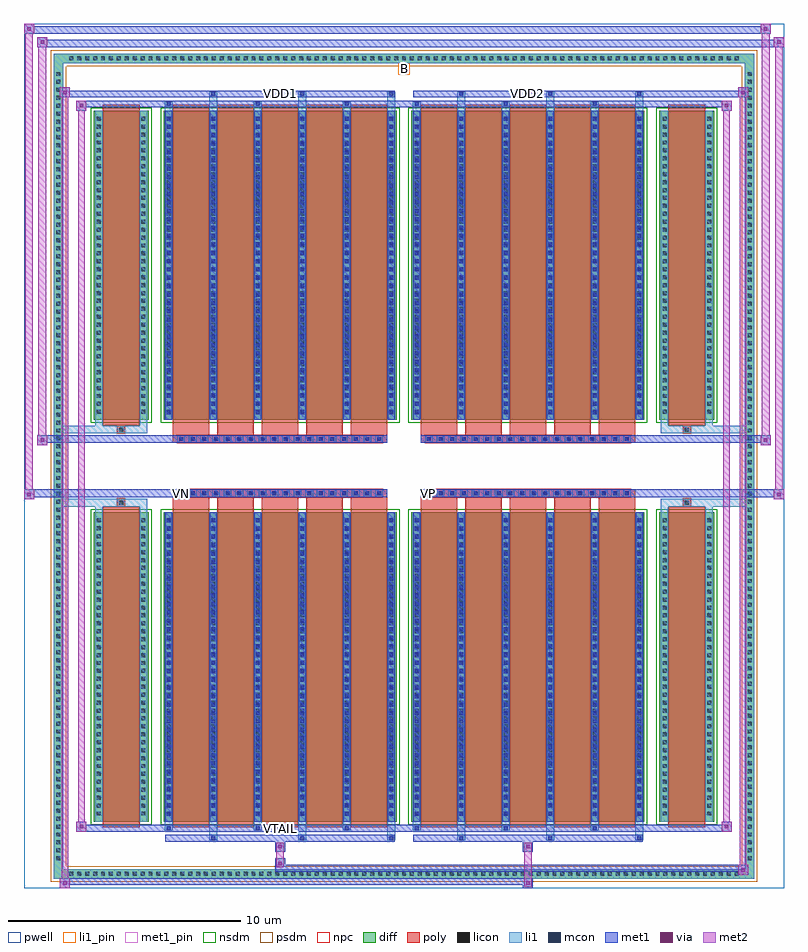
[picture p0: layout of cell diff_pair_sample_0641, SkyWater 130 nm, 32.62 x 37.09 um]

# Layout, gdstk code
import gdstk
lib = gdstk.Library(unit=1e-6, precision=5e-09)
def R(c, l, rs):  # rectangles x0, y0, x1, y1
    for r in rs: c.add(gdstk.rectangle(r[:2], r[2:], *l))
def A(c, l, x, y, w, h, nx, ny, dx, dy):  # array of equal rectangles
    R(c, l, [(x+i*dx, y+j*dy, x+i*dx+w, y+j*dy+h) for i in range(nx) for j in range(ny)])
def P(c, l, *ps):  # polygons
    for p in ps: c.add(gdstk.Polygon(p, *l))
pwell = (64, 44)
diff = (65, 20)
poly = (66, 20)
licon = (66, 44)
li1_pin = (67, 16)
li1 = (67, 20)
mcon = (67, 44)
met1_pin = (68, 16)
met1 = (68, 20)
via = (68, 44)
met2 = (69, 20)
nsdm = (93, 44)
psdm = (94, 20)
npc = (95, 20)

diff_pair_sample_0641 = lib.new_cell('diff_pair_sample_0641')
R(diff_pair_sample_0641, pwell, [(-16.31,-18.11,16.31,18.98), (-13.63,-16.3,-0.01,-0.8), (0.01,-16.3,13.63,-0.8), (-13.63,0.8,-0.01,16.3), (0.01,0.8,13.63,16.3)])
A(diff_pair_sample_0641, diff, -14.485, -17.71, 0.41, 0.41, 85, 2, 0.34, 35.01)
A(diff_pair_sample_0641, diff, -15.04, -17.035, 0.41, 0.41, 1, 100, 0, 0.34)
A(diff_pair_sample_0641, diff, 14.63, -17.035, 0.41, 0.41, 1, 100, 0, 0.34)
R(diff_pair_sample_0641, diff, [(-14.485,-17.71,14.485,-17.3), (-15.04,-17.035,-14.63,17.035), (14.63,-17.035,15.04,17.035), (-13.32,-15.255,-10.96,-1.985), (-10.32,-15.255,-0.32,-1.985), (0.32,-15.255,10.32,-1.985), (10.96,-15.255,13.32,-1.985), (-13.32,1.985,-10.96,15.255), (-10.32,1.985,-0.32,15.255), (0.32,1.985,10.32,15.255), (10.96,1.985,13.32,15.255), (-14.485,17.3,14.485,17.71)])
P(diff_pair_sample_0641, diff, [(15.04,17.71),(-15.04,17.71),(-15.04,-17.3),(-14.63,-17.3),(-14.63,17.3),(14.63,17.3),(14.63,-17.3),(-14.63,-17.3),(-15.04,-17.3),(-15.04,-17.71),(15.04,-17.71)])
A(diff_pair_sample_0641, poly, -9.93, -15.505, 1.58, 13.77, 5, 2, 1.91, 17.24)
A(diff_pair_sample_0641, poly, 0.71, -15.505, 1.58, 13.77, 5, 2, 1.91, 17.24)
A(diff_pair_sample_0641, poly, -9.93, -1.735, 1.58, 0.405, 5, 2, 1.91, 3.065)
A(diff_pair_sample_0641, poly, 0.71, -1.735, 1.58, 0.405, 5, 2, 1.91, 3.065)
A(diff_pair_sample_0641, poly, -9.735, -1.33, 0.33, 0.33, 18, 2, 0.5, 2.33)
A(diff_pair_sample_0641, poly, 0.905, -1.33, 0.33, 0.33, 18, 2, 0.5, 2.33)
R(diff_pair_sample_0641, poly, [(-12.93,-15.505,-11.35,-1.735), (11.35,-15.505,12.93,-1.735), (-12.305,-1.735,-11.975,-1.405), (-12.305,-1.735,-11.975,-1.405), (11.975,-1.735,12.305,-1.405), (11.975,-1.735,12.305,-1.405), (-9.93,-1.33,-0.71,-1), (0.71,-1.33,9.93,-1), (-9.93,1,-0.71,1.33), (0.71,1,9.93,1.33), (-12.305,1.405,-11.975,1.735), (-12.305,1.405,-11.975,1.735), (11.975,1.405,12.305,1.735), (11.975,1.405,12.305,1.735), (-12.93,1.735,-11.35,15.505), (11.35,1.735,12.93,15.505)])
A(diff_pair_sample_0641, licon, -14.365, -17.59, 0.17, 0.17, 85, 2, 0.34, 35.01)
A(diff_pair_sample_0641, licon, -14.92, -16.915, 0.17, 0.17, 1, 100, 0, 0.34)
A(diff_pair_sample_0641, licon, 14.75, -16.915, 0.17, 0.17, 1, 100, 0, 0.34)
A(diff_pair_sample_0641, licon, -13.18, -14.995, 0.17, 0.17, 1, 38, 0, 0.34)
A(diff_pair_sample_0641, licon, -11.27, -14.995, 0.17, 0.17, 1, 38, 0, 0.34)
A(diff_pair_sample_0641, licon, -10.18, -14.995, 0.17, 0.17, 6, 38, 1.91, 0.34)
A(diff_pair_sample_0641, licon, 0.46, -14.995, 0.17, 0.17, 6, 38, 1.91, 0.34)
A(diff_pair_sample_0641, licon, 11.1, -14.995, 0.17, 0.17, 1, 38, 0, 0.34)
A(diff_pair_sample_0641, licon, 13.01, -14.995, 0.17, 0.17, 1, 38, 0, 0.34)
A(diff_pair_sample_0641, licon, -9.655, -1.25, 0.17, 0.17, 18, 2, 0.5, 2.33)
A(diff_pair_sample_0641, licon, 0.985, -1.25, 0.17, 0.17, 18, 2, 0.5, 2.33)
A(diff_pair_sample_0641, licon, -13.18, 2.245, 0.17, 0.17, 1, 38, 0, 0.34)
A(diff_pair_sample_0641, licon, -11.27, 2.245, 0.17, 0.17, 1, 38, 0, 0.34)
A(diff_pair_sample_0641, licon, -10.18, 2.245, 0.17, 0.17, 6, 38, 1.91, 0.34)
A(diff_pair_sample_0641, licon, 0.46, 2.245, 0.17, 0.17, 6, 38, 1.91, 0.34)
A(diff_pair_sample_0641, licon, 11.1, 2.245, 0.17, 0.17, 1, 38, 0, 0.34)
A(diff_pair_sample_0641, licon, 13.01, 2.245, 0.17, 0.17, 1, 38, 0, 0.34)
R(diff_pair_sample_0641, licon, [(-12.225,-1.655,-12.055,-1.485), (12.055,-1.655,12.225,-1.485), (-12.225,1.485,-12.055,1.655), (12.055,1.485,12.225,1.655)])
R(diff_pair_sample_0641, li1_pin, [(-0.25,16.8,0.25,17.3)])
A(diff_pair_sample_0641, li1, -14.445, -17.67, 0.33, 0.33, 85, 2, 0.34, 35.01)
A(diff_pair_sample_0641, li1, -15, -16.995, 0.33, 0.33, 1, 100, 0, 0.34)
A(diff_pair_sample_0641, li1, 14.67, -16.995, 0.33, 0.33, 1, 100, 0, 0.34)
A(diff_pair_sample_0641, li1, -8.35, -16.06, 0.33, 0.805, 3, 2, 3.82, 31.315)
A(diff_pair_sample_0641, li1, -8.27, -16.06, 0.17, 0.17, 3, 2, 3.82, 31.95)
A(diff_pair_sample_0641, li1, 2.29, -16.06, 0.33, 0.805, 3, 2, 3.82, 31.315)
A(diff_pair_sample_0641, li1, 2.37, -16.06, 0.17, 0.17, 3, 2, 3.82, 31.95)
A(diff_pair_sample_0641, li1, -10.26, -15.63, 0.33, 0.375, 3, 2, 3.82, 30.885)
A(diff_pair_sample_0641, li1, -10.18, -15.63, 0.17, 0.17, 3, 2, 3.82, 31.09)
A(diff_pair_sample_0641, li1, 0.38, -15.63, 0.33, 0.375, 3, 2, 3.82, 30.885)
A(diff_pair_sample_0641, li1, 0.46, -15.63, 0.17, 0.17, 3, 2, 3.82, 31.09)
A(diff_pair_sample_0641, li1, -10.26, -15.255, 0.33, 13.27, 6, 2, 1.91, 17.24)
A(diff_pair_sample_0641, li1, 0.38, -15.255, 0.33, 13.27, 6, 2, 1.91, 17.24)
A(diff_pair_sample_0641, li1, -13.26, -15.075, 0.33, 0.33, 1, 38, 0, 0.34)
A(diff_pair_sample_0641, li1, -11.35, -15.075, 0.33, 0.33, 1, 38, 0, 0.34)
A(diff_pair_sample_0641, li1, -10.26, -15.075, 0.33, 0.33, 6, 38, 1.91, 0.34)
A(diff_pair_sample_0641, li1, 0.38, -15.075, 0.33, 0.33, 6, 38, 1.91, 0.34)
A(diff_pair_sample_0641, li1, 11.02, -15.075, 0.33, 0.33, 1, 38, 0, 0.34)
A(diff_pair_sample_0641, li1, 12.93, -15.075, 0.33, 0.33, 1, 38, 0, 0.34)
A(diff_pair_sample_0641, li1, -10.18, -15.005, 0.17, 0.17, 6, 36, 1.91, 0.36)
A(diff_pair_sample_0641, li1, -10.18, -15.005, 0.17, 12.77, 6, 2, 1.91, 17.24)
A(diff_pair_sample_0641, li1, 0.46, -15.005, 0.17, 0.17, 6, 36, 1.91, 0.36)
A(diff_pair_sample_0641, li1, 0.46, -15.005, 0.17, 12.77, 6, 2, 1.91, 17.24)
A(diff_pair_sample_0641, li1, -9.735, -1.33, 0.33, 0.33, 18, 2, 0.5, 2.33)
A(diff_pair_sample_0641, li1, 0.905, -1.33, 0.33, 0.33, 18, 2, 0.5, 2.33)
A(diff_pair_sample_0641, li1, -13.26, 2.165, 0.33, 0.33, 1, 38, 0, 0.34)
A(diff_pair_sample_0641, li1, -11.35, 2.165, 0.33, 0.33, 1, 38, 0, 0.34)
A(diff_pair_sample_0641, li1, -10.26, 2.165, 0.33, 0.33, 6, 38, 1.91, 0.34)
A(diff_pair_sample_0641, li1, 0.38, 2.165, 0.33, 0.33, 6, 38, 1.91, 0.34)
A(diff_pair_sample_0641, li1, 11.02, 2.165, 0.33, 0.33, 1, 38, 0, 0.34)
A(diff_pair_sample_0641, li1, 12.93, 2.165, 0.33, 0.33, 1, 38, 0, 0.34)
A(diff_pair_sample_0641, li1, -10.18, 2.235, 0.17, 0.17, 6, 36, 1.91, 0.36)
A(diff_pair_sample_0641, li1, 0.46, 2.235, 0.17, 0.17, 6, 36, 1.91, 0.36)
R(diff_pair_sample_0641, li1, [(-15.04,-17.71,-14.63,-17.3), (-15.04,-17.71,-14.63,-17.3), (-14.63,-17.71,14.63,-17.3), (14.63,-17.71,15.04,-17.3), (14.63,-17.71,15.04,-17.3), (-15.04,-17.3,-14.63,17.3), (14.63,-17.3,15.04,17.3), (-13.26,-15.255,-12.93,-1.985), (-11.35,-15.255,-11.02,-1.985), (11.02,-15.255,11.35,-1.985), (12.93,-15.255,13.26,-1.985), (-13.26,-1.985,-12.93,-1.405), (-11.35,-1.985,-11.02,-1.405), (11.02,-1.985,11.35,-1.405), (12.93,-1.985,13.26,-1.405), (-15.04,-1.735,-12.305,-1.405), (-13.26,-1.735,-12.305,-1.405), (-12.305,-1.735,-11.975,-1.405), (-11.975,-1.735,-11.02,-1.405), (11.02,-1.735,11.975,-1.405), (11.975,-1.735,12.305,-1.405), (11.975,-1.735,15.04,-1.405), (12.305,-1.735,13.26,-1.405), (-15.04,1.405,-12.305,1.735), (-13.26,1.405,-12.305,1.735), (-13.26,1.405,-12.93,1.985), (-12.305,1.405,-11.975,1.735), (-11.975,1.405,-11.02,1.735), (-11.35,1.405,-11.02,1.985), (11.02,1.405,11.975,1.735), (11.02,1.405,11.35,1.985), (11.975,1.405,12.305,1.735), (11.975,1.405,15.04,1.735), (12.305,1.405,13.26,1.735), (12.93,1.405,13.26,1.985), (-13.26,1.985,-12.93,15.255), (-11.35,1.985,-11.02,15.255), (11.02,1.985,11.35,15.255), (12.93,1.985,13.26,15.255), (-15.04,17.3,-14.63,17.71), (-15.04,17.3,-14.63,17.71), (-14.63,17.3,14.63,17.71), (14.63,17.3,15.04,17.71), (14.63,17.3,15.04,17.71)])
A(diff_pair_sample_0641, mcon, -8.27, -16.06, 0.17, 0.17, 3, 2, 3.82, 31.95)
A(diff_pair_sample_0641, mcon, 2.37, -16.06, 0.17, 0.17, 3, 2, 3.82, 31.95)
A(diff_pair_sample_0641, mcon, -10.18, -15.63, 0.17, 0.17, 3, 2, 3.82, 31.09)
A(diff_pair_sample_0641, mcon, 0.46, -15.63, 0.17, 0.17, 3, 2, 3.82, 31.09)
A(diff_pair_sample_0641, mcon, -10.18, -15.005, 0.17, 0.17, 6, 36, 1.91, 0.36)
A(diff_pair_sample_0641, mcon, 0.46, -15.005, 0.17, 0.17, 6, 36, 1.91, 0.36)
A(diff_pair_sample_0641, mcon, -9.655, -1.25, 0.17, 0.17, 18, 2, 0.5, 2.33)
A(diff_pair_sample_0641, mcon, 0.985, -1.25, 0.17, 0.17, 18, 2, 0.5, 2.33)
A(diff_pair_sample_0641, mcon, -10.18, 2.235, 0.17, 0.17, 6, 36, 1.91, 0.36)
A(diff_pair_sample_0641, mcon, 0.46, 2.235, 0.17, 0.17, 6, 36, 1.91, 0.36)
R(diff_pair_sample_0641, met1_pin, [(-5.455,-15.67,-5.185,-15.4), (-9.705,-1.29,-9.435,-1.02), (0.935,-1.29,1.205,-1.02), (-5.455,15.85,-5.185,16.12), (5.185,15.85,5.455,16.12)])
A(diff_pair_sample_0641, met1, -8.33, -16.12, 0.29, 0.29, 3, 2, 3.82, 31.95)
A(diff_pair_sample_0641, met1, 2.31, -16.12, 0.29, 0.29, 3, 2, 3.82, 31.95)
A(diff_pair_sample_0641, met1, -10.24, -15.69, 0.29, 0.29, 3, 2, 3.82, 31.09)
A(diff_pair_sample_0641, met1, 0.4, -15.69, 0.29, 0.29, 3, 2, 3.82, 31.09)
A(diff_pair_sample_0641, met1, -10.24, -15.255, 0.29, 13.27, 6, 2, 1.91, 17.24)
A(diff_pair_sample_0641, met1, 0.4, -15.255, 0.29, 13.27, 6, 2, 1.91, 17.24)
A(diff_pair_sample_0641, met1, -10.24, -15.065, 0.29, 0.29, 6, 36, 1.91, 0.36)
A(diff_pair_sample_0641, met1, 0.4, -15.065, 0.29, 0.29, 6, 36, 1.91, 0.36)
A(diff_pair_sample_0641, met1, -9.715, -1.31, 0.29, 0.29, 18, 2, 0.5, 2.33)
A(diff_pair_sample_0641, met1, 0.925, -1.31, 0.29, 0.29, 18, 2, 0.5, 2.33)
A(diff_pair_sample_0641, met1, -10.24, 2.175, 0.29, 0.29, 6, 36, 1.91, 0.36)
A(diff_pair_sample_0641, met1, 0.4, 2.175, 0.29, 0.29, 6, 36, 1.91, 0.36)
R(diff_pair_sample_0641, met1, [(-14.77,-18.11,-14.34,-17.68), (5.105,-18.11,5.535,-17.68), (-14.77,-17.97,5.535,-17.68), (14.34,-17.54,14.77,-17.11), (-5.535,-17.4,14.77,-17.11), (-5.535,-17.26,-5.105,-16.83), (-5.535,-16.55,-5.105,-16.12), (5.105,-16.55,5.535,-16.12), (-10.24,-16.12,-0.4,-15.83), (0.4,-16.12,10.24,-15.83), (-14.06,-15.69,-13.63,-15.26), (-14.06,-15.69,-10.24,-15.4), (-10.24,-15.69,-0.4,-15.4), (-0.4,-15.69,0.4,-15.4), (0.4,-15.69,10.24,-15.4), (10.24,-15.69,14.06,-15.4), (13.63,-15.69,14.06,-15.26), (-16.31,-1.43,-15.88,-1), (15.88,-1.43,16.31,-1), (-16.31,-1.33,-0.71,-1), (-9.93,-1.33,-0.71,-1), (0.71,-1.33,9.93,-1), (0.71,-1.33,16.31,-1), (-15.74,0.9,-15.31,1.33), (15.31,0.9,15.74,1.33), (-15.74,1,-9.93,1.33), (-9.93,1,-0.71,1.33), (0.71,1,9.93,1.33), (9.93,1,15.74,1.33), (-14.06,15.26,-13.63,15.69), (13.63,15.26,14.06,15.69), (-14.06,15.4,-10.24,15.69), (-10.24,15.4,-0.4,15.69), (-0.4,15.4,0.4,15.69), (0.4,15.4,10.24,15.69), (10.24,15.4,14.06,15.69), (-14.77,15.83,-14.34,16.26), (-14.77,15.83,-10.24,16.12), (-10.24,15.83,-0.4,16.12), (0.4,15.83,10.24,16.12), (10.24,15.83,14.77,16.12), (14.34,15.83,14.77,16.26), (-15.74,17.98,-15.31,18.41), (-15.74,17.98,-13.63,18.31), (-13.63,17.98,13.63,18.31), (13.63,17.98,16.31,18.31), (15.88,17.98,16.31,18.41), (-16.31,18.55,-15.88,18.98), (-16.31,18.55,-13.63,18.88), (-13.63,18.55,13.63,18.88), (13.63,18.55,15.74,18.88), (15.31,18.55,15.74,18.98)])
R(diff_pair_sample_0641, via, [(-14.63,-17.97,-14.48,-17.82), (5.245,-17.97,5.395,-17.82), (14.48,-17.4,14.63,-17.25), (-5.395,-17.12,-5.245,-16.97), (-5.395,-16.41,-5.245,-16.26), (5.245,-16.41,5.395,-16.26), (-13.92,-15.55,-13.77,-15.4), (13.77,-15.55,13.92,-15.4), (-16.17,-1.29,-16.02,-1.14), (16.02,-1.29,16.17,-1.14), (-15.6,1.04,-15.45,1.19), (15.45,1.04,15.6,1.19), (-13.92,15.4,-13.77,15.55), (13.77,15.4,13.92,15.55), (-14.63,15.97,-14.48,16.12), (14.48,15.97,14.63,16.12), (-15.6,18.12,-15.45,18.27), (16.02,18.12,16.17,18.27), (-16.17,18.69,-16.02,18.84), (15.45,18.69,15.6,18.84)])
R(diff_pair_sample_0641, met2, [(-14.77,-18.11,-14.34,-17.68), (-14.7,-18.11,-14.41,16.26), (-14.41,-18.11,-14.34,-17.68), (-14.72,-18.06,-14.39,-17.73), (5.155,-18.06,5.485,-17.73), (5.155,-17.73,5.485,-16.5), (14.34,-17.54,14.77,-17.11), (14.41,-17.54,14.7,16.26), (14.7,-17.54,14.77,-17.11), (14.39,-17.49,14.72,-17.16), (-5.485,-17.21,-5.155,-16.88), (-5.485,-16.88,-5.155,-16.5), (-5.485,-16.5,-5.155,-16.17), (5.155,-16.5,5.485,-16.17), (-14.06,-15.69,-13.63,-15.26), (-13.99,-15.69,-13.7,15.69), (-13.7,-15.69,-13.63,-15.26), (13.63,-15.69,14.06,-15.26), (13.7,-15.69,13.99,15.69), (13.99,-15.69,14.06,-15.26), (-14.01,-15.64,-13.68,-15.31), (13.68,-15.64,14.01,-15.31), (-16.31,-1.43,-15.88,-1), (-16.26,-1.43,-15.93,18.98), (-15.93,-1.43,-15.88,-1), (15.88,-1.43,16.31,-1), (15.93,-1.43,16.26,18.41), (16.26,-1.43,16.31,-1), (-16.26,-1.38,-15.93,-1.05), (15.93,-1.38,16.26,-1.05), (-15.74,0.9,-15.31,1.33), (-15.69,0.9,-15.36,18.41), (-15.36,0.9,-15.31,1.33), (15.31,0.9,15.74,1.33), (15.36,0.9,15.69,18.98), (15.69,0.9,15.74,1.33), (-15.69,0.95,-15.36,1.28), (15.36,0.95,15.69,1.28), (-14.06,15.26,-13.63,15.69), (-13.7,15.26,-13.63,15.69), (13.63,15.26,14.06,15.69), (13.99,15.26,14.06,15.69), (-14.01,15.31,-13.68,15.64), (13.68,15.31,14.01,15.64), (-14.77,15.83,-14.34,16.26), (-14.41,15.83,-14.34,16.26), (14.34,15.83,14.77,16.26), (14.7,15.83,14.77,16.26), (-14.72,15.88,-14.39,16.21), (14.39,15.88,14.72,16.21), (-15.74,17.98,-15.31,18.41), (-15.36,17.98,-15.31,18.41), (15.88,17.98,16.31,18.41), (16.26,17.98,16.31,18.41), (-15.69,18.03,-15.36,18.36), (15.93,18.03,16.26,18.36), (-16.31,18.55,-15.88,18.98), (-15.93,18.55,-15.88,18.98), (15.31,18.55,15.74,18.98), (15.69,18.55,15.74,18.98), (-16.26,18.6,-15.93,18.93), (15.36,18.6,15.69,18.93)])
R(diff_pair_sample_0641, nsdm, [(-13.45,-15.385,-10.83,-1.855), (-10.45,-15.385,-0.19,-1.855), (0.19,-15.385,10.45,-1.855), (10.83,-15.385,13.45,-1.855), (-13.45,1.855,-10.83,15.385), (-10.45,1.855,-0.19,15.385), (0.19,1.855,10.45,15.385), (10.83,1.855,13.45,15.385)])
P(diff_pair_sample_0641, psdm, [(15.17,17.84),(-15.17,17.84),(-15.17,-17.17),(-14.5,-17.17),(-14.5,17.17),(14.5,17.17),(14.5,-17.17),(-14.5,-17.17),(-15.17,-17.17),(-15.17,-17.84),(15.17,-17.84)])
A(diff_pair_sample_0641, npc, -9.755, -1.35, 0.37, 0.37, 18, 2, 0.5, 2.33)
A(diff_pair_sample_0641, npc, 0.885, -1.35, 0.37, 0.37, 18, 2, 0.5, 2.33)
R(diff_pair_sample_0641, npc, [(-12.325,-1.755,-11.955,-1.385), (11.955,-1.755,12.325,-1.385), (-9.755,-1.35,-8.885,-0.98), (-9.755,-1.35,-8.885,-0.98), (-9.255,-1.35,-8.385,-0.98), (-9.255,-1.35,-8.385,-0.98), (-8.755,-1.35,-7.885,-0.98), (-8.755,-1.35,-7.885,-0.98), (-8.255,-1.35,-7.385,-0.98), (-8.255,-1.35,-7.385,-0.98), (-7.755,-1.35,-6.885,-0.98), (-7.755,-1.35,-6.885,-0.98), (-7.255,-1.35,-6.385,-0.98), (-7.255,-1.35,-6.385,-0.98), (-6.755,-1.35,-5.885,-0.98), (-6.755,-1.35,-5.885,-0.98), (-6.255,-1.35,-5.385,-0.98), (-6.255,-1.35,-5.385,-0.98), (-5.755,-1.35,-4.885,-0.98), (-5.755,-1.35,-4.885,-0.98), (-5.255,-1.35,-4.385,-0.98), (-5.255,-1.35,-4.385,-0.98), (-4.755,-1.35,-3.885,-0.98), (-4.755,-1.35,-3.885,-0.98), (-4.255,-1.35,-3.385,-0.98), (-4.255,-1.35,-3.385,-0.98), (-3.755,-1.35,-2.885,-0.98), (-3.755,-1.35,-2.885,-0.98), (-3.255,-1.35,-2.385,-0.98), (-3.255,-1.35,-2.385,-0.98), (-2.755,-1.35,-1.885,-0.98), (-2.755,-1.35,-1.885,-0.98), (-2.255,-1.35,-1.385,-0.98), (-2.255,-1.35,-1.385,-0.98), (-1.755,-1.35,-0.885,-0.98), (-1.755,-1.35,-0.885,-0.98), (0.885,-1.35,1.755,-0.98), (0.885,-1.35,1.755,-0.98), (1.385,-1.35,2.255,-0.98), (1.385,-1.35,2.255,-0.98), (1.885,-1.35,2.755,-0.98), (1.885,-1.35,2.755,-0.98), (2.385,-1.35,3.255,-0.98), (2.385,-1.35,3.255,-0.98), (2.885,-1.35,3.755,-0.98), (2.885,-1.35,3.755,-0.98), (3.385,-1.35,4.255,-0.98), (3.385,-1.35,4.255,-0.98), (3.885,-1.35,4.755,-0.98), (3.885,-1.35,4.755,-0.98), (4.385,-1.35,5.255,-0.98), (4.385,-1.35,5.255,-0.98), (4.885,-1.35,5.755,-0.98), (4.885,-1.35,5.755,-0.98), (5.385,-1.35,6.255,-0.98), (5.385,-1.35,6.255,-0.98), (5.885,-1.35,6.755,-0.98), (5.885,-1.35,6.755,-0.98), (6.385,-1.35,7.255,-0.98), (6.385,-1.35,7.255,-0.98), (6.885,-1.35,7.755,-0.98), (6.885,-1.35,7.755,-0.98), (7.385,-1.35,8.255,-0.98), (7.385,-1.35,8.255,-0.98), (7.885,-1.35,8.755,-0.98), (7.885,-1.35,8.755,-0.98), (8.385,-1.35,9.255,-0.98), (8.385,-1.35,9.255,-0.98), (8.885,-1.35,9.755,-0.98), (8.885,-1.35,9.755,-0.98), (-9.755,0.98,-8.885,1.35), (-9.755,0.98,-8.885,1.35), (-9.255,0.98,-8.385,1.35), (-9.255,0.98,-8.385,1.35), (-8.755,0.98,-7.885,1.35), (-8.755,0.98,-7.885,1.35), (-8.255,0.98,-7.385,1.35), (-8.255,0.98,-7.385,1.35), (-7.755,0.98,-6.885,1.35), (-7.755,0.98,-6.885,1.35), (-7.255,0.98,-6.385,1.35), (-7.255,0.98,-6.385,1.35), (-6.755,0.98,-5.885,1.35), (-6.755,0.98,-5.885,1.35), (-6.255,0.98,-5.385,1.35), (-6.255,0.98,-5.385,1.35), (-5.755,0.98,-4.885,1.35), (-5.755,0.98,-4.885,1.35), (-5.255,0.98,-4.385,1.35), (-5.255,0.98,-4.385,1.35), (-4.755,0.98,-3.885,1.35), (-4.755,0.98,-3.885,1.35), (-4.255,0.98,-3.385,1.35), (-4.255,0.98,-3.385,1.35), (-3.755,0.98,-2.885,1.35), (-3.755,0.98,-2.885,1.35), (-3.255,0.98,-2.385,1.35), (-3.255,0.98,-2.385,1.35), (-2.755,0.98,-1.885,1.35), (-2.755,0.98,-1.885,1.35), (-2.255,0.98,-1.385,1.35), (-2.255,0.98,-1.385,1.35), (-1.755,0.98,-0.885,1.35), (-1.755,0.98,-0.885,1.35), (0.885,0.98,1.755,1.35), (0.885,0.98,1.755,1.35), (1.385,0.98,2.255,1.35), (1.385,0.98,2.255,1.35), (1.885,0.98,2.755,1.35), (1.885,0.98,2.755,1.35), (2.385,0.98,3.255,1.35), (2.385,0.98,3.255,1.35), (2.885,0.98,3.755,1.35), (2.885,0.98,3.755,1.35), (3.385,0.98,4.255,1.35), (3.385,0.98,4.255,1.35), (3.885,0.98,4.755,1.35), (3.885,0.98,4.755,1.35), (4.385,0.98,5.255,1.35), (4.385,0.98,5.255,1.35), (4.885,0.98,5.755,1.35), (4.885,0.98,5.755,1.35), (5.385,0.98,6.255,1.35), (5.385,0.98,6.255,1.35), (5.885,0.98,6.755,1.35), (5.885,0.98,6.755,1.35), (6.385,0.98,7.255,1.35), (6.385,0.98,7.255,1.35), (6.885,0.98,7.755,1.35), (6.885,0.98,7.755,1.35), (7.385,0.98,8.255,1.35), (7.385,0.98,8.255,1.35), (7.885,0.98,8.755,1.35), (7.885,0.98,8.755,1.35), (8.385,0.98,9.255,1.35), (8.385,0.98,9.255,1.35), (8.885,0.98,9.755,1.35), (8.885,0.98,9.755,1.35), (-12.325,1.385,-11.955,1.755), (11.955,1.385,12.325,1.755)])
diff_pair_sample_0641.add(gdstk.Label('VTAIL', (-5.32,-15.535), layer=68, texttype=5))
diff_pair_sample_0641.add(gdstk.Label('VN', (-9.57,-1.155), layer=68, texttype=5))
diff_pair_sample_0641.add(gdstk.Label('VP', (1.07,-1.155), layer=68, texttype=5))
diff_pair_sample_0641.add(gdstk.Label('B', (0,17.05), layer=67, texttype=5))
diff_pair_sample_0641.add(gdstk.Label('VDD2', (5.32,15.985), layer=68, texttype=5))
diff_pair_sample_0641.add(gdstk.Label('VDD1', (-5.32,15.985), layer=68, texttype=5))

lib.write_gds('diff_pair_sample_0641.gds')
